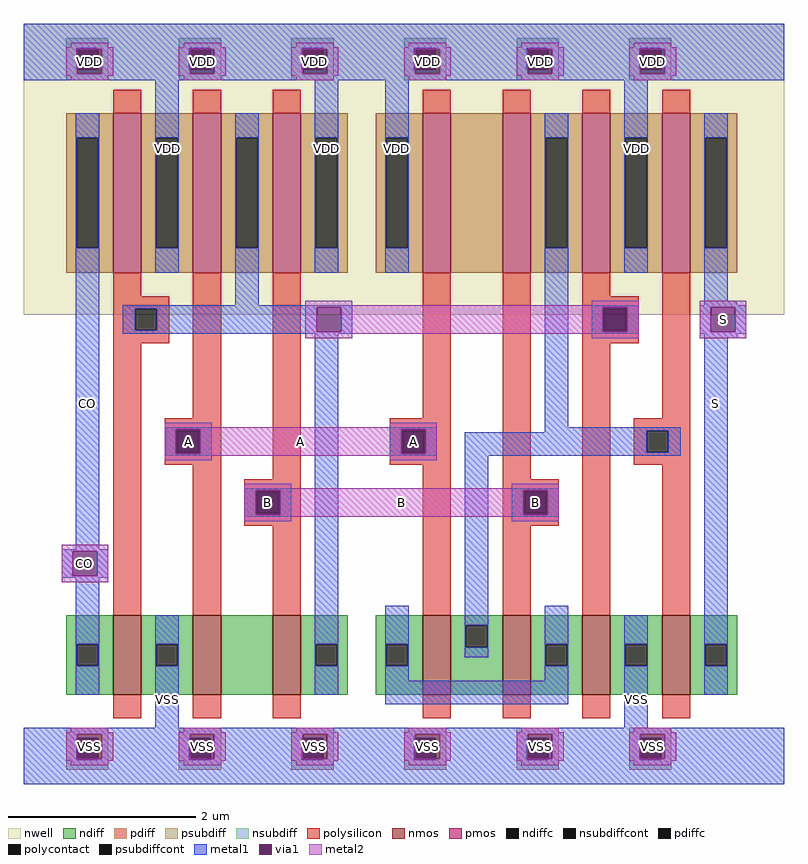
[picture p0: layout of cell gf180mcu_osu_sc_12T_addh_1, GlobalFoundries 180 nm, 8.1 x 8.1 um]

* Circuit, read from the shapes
.subckt gf180mcu_osu_sc_12T_addh_1 A B S CO VDD VSS
XM1 VSS n1 CO VSS nfet_03v3 w=0.85u l=0.3u
XM2 n2 A VSS VSS nfet_03v3 w=0.85u l=0.3u
XM3 n1 B n2 VSS nfet_03v3 w=0.85u l=0.3u
XM4 n3 A n4 VSS nfet_03v3 w=0.85u l=0.3u
XM5 n4 B n3 VSS nfet_03v3 w=0.85u l=0.3u
XM6 VSS n1 n4 VSS nfet_03v3 w=0.85u l=0.3u
XM7 S n3 VSS VSS nfet_03v3 w=0.85u l=0.3u
XM8 VDD n1 CO VDD pfet_03v3 w=1.7u l=0.3u
XM9 n1 A VDD VDD pfet_03v3 w=1.7u l=0.3u
XM10 VDD B n1 VDD pfet_03v3 w=1.7u l=0.3u
XM11 n5 A VDD VDD pfet_03v3 w=1.7u l=0.3u
XM12 n3 B n5 VDD pfet_03v3 w=1.7u l=0.3u
XM13 VDD n1 n3 VDD pfet_03v3 w=1.7u l=0.3u
XM14 S n3 VDD VDD pfet_03v3 w=1.7u l=0.3u
.ends

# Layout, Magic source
magic
tech gf180mcuA
magscale 1 10
<< nwell >>
rect 0 1000 1620 1620
<< nmos >>
rect 190 190 250 360
rect 360 190 420 360
rect 530 190 590 360
rect 850 190 910 360
rect 1020 190 1080 360
rect 1190 190 1250 360
rect 1360 190 1420 360
<< pmos >>
rect 190 1090 250 1430
rect 360 1090 420 1430
rect 530 1090 590 1430
rect 850 1090 910 1430
rect 1020 1090 1080 1430
rect 1190 1090 1250 1430
rect 1360 1090 1420 1430
<< ndiff >>
rect 90 298 190 360
rect 90 252 112 298
rect 158 252 190 298
rect 90 190 190 252
rect 250 298 360 360
rect 250 252 282 298
rect 328 252 360 298
rect 250 190 360 252
rect 420 190 530 360
rect 590 298 690 360
rect 590 252 622 298
rect 668 252 690 298
rect 590 190 690 252
rect 750 298 850 360
rect 750 252 772 298
rect 818 252 850 298
rect 750 190 850 252
rect 910 338 1020 360
rect 910 292 942 338
rect 988 292 1020 338
rect 910 190 1020 292
rect 1080 298 1190 360
rect 1080 252 1112 298
rect 1158 252 1190 298
rect 1080 190 1190 252
rect 1250 298 1360 360
rect 1250 252 1282 298
rect 1328 252 1360 298
rect 1250 190 1360 252
rect 1420 298 1520 360
rect 1420 252 1452 298
rect 1498 252 1520 298
rect 1420 190 1520 252
<< pdiff >>
rect 90 1377 190 1430
rect 90 1143 112 1377
rect 158 1143 190 1377
rect 90 1090 190 1143
rect 250 1377 360 1430
rect 250 1143 282 1377
rect 328 1143 360 1377
rect 250 1090 360 1143
rect 420 1377 530 1430
rect 420 1143 452 1377
rect 498 1143 530 1377
rect 420 1090 530 1143
rect 590 1377 690 1430
rect 590 1143 622 1377
rect 668 1143 690 1377
rect 590 1090 690 1143
rect 750 1377 850 1430
rect 750 1143 772 1377
rect 818 1143 850 1377
rect 750 1090 850 1143
rect 910 1090 1020 1430
rect 1080 1377 1190 1430
rect 1080 1143 1112 1377
rect 1158 1143 1190 1377
rect 1080 1090 1190 1143
rect 1250 1377 1360 1430
rect 1250 1143 1282 1377
rect 1328 1143 1360 1377
rect 1250 1090 1360 1143
rect 1420 1377 1520 1430
rect 1420 1143 1452 1377
rect 1498 1143 1520 1377
rect 1420 1090 1520 1143
<< ndiffc >>
rect 112 252 158 298
rect 282 252 328 298
rect 622 252 668 298
rect 772 252 818 298
rect 942 292 988 338
rect 1112 252 1158 298
rect 1282 252 1328 298
rect 1452 252 1498 298
<< pdiffc >>
rect 112 1143 158 1377
rect 282 1143 328 1377
rect 452 1143 498 1377
rect 622 1143 668 1377
rect 772 1143 818 1377
rect 1112 1143 1158 1377
rect 1282 1143 1328 1377
rect 1452 1143 1498 1377
<< psubdiff >>
rect 90 98 180 120
rect 90 52 112 98
rect 158 52 180 98
rect 90 30 180 52
rect 330 98 420 120
rect 330 52 352 98
rect 398 52 420 98
rect 330 30 420 52
rect 570 98 660 120
rect 570 52 592 98
rect 638 52 660 98
rect 570 30 660 52
rect 810 98 900 120
rect 810 52 832 98
rect 878 52 900 98
rect 810 30 900 52
rect 1050 98 1140 120
rect 1050 52 1072 98
rect 1118 52 1140 98
rect 1050 30 1140 52
rect 1290 98 1380 120
rect 1290 52 1312 98
rect 1358 52 1380 98
rect 1290 30 1380 52
<< nsubdiff >>
rect 90 1568 180 1590
rect 90 1522 112 1568
rect 158 1522 180 1568
rect 90 1500 180 1522
rect 330 1568 420 1590
rect 330 1522 352 1568
rect 398 1522 420 1568
rect 330 1500 420 1522
rect 570 1568 660 1590
rect 570 1522 592 1568
rect 638 1522 660 1568
rect 570 1500 660 1522
rect 810 1568 900 1590
rect 810 1522 832 1568
rect 878 1522 900 1568
rect 810 1500 900 1522
rect 1050 1568 1140 1590
rect 1050 1522 1072 1568
rect 1118 1522 1140 1568
rect 1050 1500 1140 1522
rect 1290 1568 1380 1590
rect 1290 1522 1312 1568
rect 1358 1522 1380 1568
rect 1290 1500 1380 1522
<< psubdiffcont >>
rect 112 52 158 98
rect 352 52 398 98
rect 592 52 638 98
rect 832 52 878 98
rect 1072 52 1118 98
rect 1312 52 1358 98
<< nsubdiffcont >>
rect 112 1522 158 1568
rect 352 1522 398 1568
rect 592 1522 638 1568
rect 832 1522 878 1568
rect 1072 1522 1118 1568
rect 1312 1522 1358 1568
<< polysilicon >>
rect 190 1430 250 1480
rect 360 1430 420 1480
rect 530 1430 590 1480
rect 850 1430 910 1480
rect 1020 1430 1080 1480
rect 1190 1430 1250 1480
rect 1360 1430 1420 1480
rect 190 1040 250 1090
rect 190 1013 310 1040
rect 190 967 237 1013
rect 283 967 310 1013
rect 190 940 310 967
rect 190 360 250 940
rect 360 780 420 1090
rect 300 753 420 780
rect 300 707 327 753
rect 373 707 420 753
rect 300 680 420 707
rect 360 360 420 680
rect 530 650 590 1090
rect 850 780 910 1090
rect 780 753 910 780
rect 780 707 807 753
rect 853 707 910 753
rect 780 680 910 707
rect 470 623 590 650
rect 470 577 497 623
rect 543 577 590 623
rect 470 550 590 577
rect 530 360 590 550
rect 850 360 910 680
rect 1020 650 1080 1090
rect 1190 1040 1250 1090
rect 1190 1013 1310 1040
rect 1190 967 1237 1013
rect 1283 967 1310 1013
rect 1190 940 1310 967
rect 1020 623 1140 650
rect 1020 577 1067 623
rect 1113 577 1140 623
rect 1020 550 1140 577
rect 1020 360 1080 550
rect 1190 360 1250 940
rect 1360 780 1420 1090
rect 1300 753 1420 780
rect 1300 707 1327 753
rect 1373 707 1420 753
rect 1300 680 1420 707
rect 1360 360 1420 680
rect 190 140 250 190
rect 360 140 420 190
rect 530 140 590 190
rect 850 140 910 190
rect 1020 140 1080 190
rect 1190 140 1250 190
rect 1360 140 1420 190
<< polycontact >>
rect 237 967 283 1013
rect 327 707 373 753
rect 807 707 853 753
rect 497 577 543 623
rect 1237 967 1283 1013
rect 1067 577 1113 623
rect 1327 707 1373 753
<< metal1 >>
rect 0 1568 1620 1620
rect 0 1522 112 1568
rect 158 1566 352 1568
rect 398 1566 592 1568
rect 638 1566 832 1568
rect 878 1566 1072 1568
rect 1118 1566 1312 1568
rect 1358 1566 1620 1568
rect 166 1522 352 1566
rect 406 1522 592 1566
rect 646 1522 832 1566
rect 886 1522 1072 1566
rect 1126 1522 1312 1566
rect 0 1514 114 1522
rect 166 1514 354 1522
rect 406 1514 594 1522
rect 646 1514 834 1522
rect 886 1514 1074 1522
rect 1126 1514 1314 1522
rect 1366 1514 1620 1566
rect 0 1500 1620 1514
rect 110 1377 160 1430
rect 110 1143 112 1377
rect 158 1143 160 1377
rect 110 500 160 1143
rect 280 1377 330 1500
rect 280 1143 282 1377
rect 328 1143 330 1377
rect 280 1090 330 1143
rect 450 1377 500 1430
rect 450 1143 452 1377
rect 498 1143 500 1377
rect 450 1020 500 1143
rect 620 1377 670 1500
rect 620 1143 622 1377
rect 668 1143 670 1377
rect 620 1090 670 1143
rect 770 1377 820 1500
rect 770 1143 772 1377
rect 818 1143 820 1377
rect 770 1090 820 1143
rect 1110 1377 1160 1430
rect 1110 1143 1112 1377
rect 1158 1143 1160 1377
rect 210 1016 700 1020
rect 210 1013 624 1016
rect 210 967 237 1013
rect 283 967 624 1013
rect 210 964 624 967
rect 676 964 700 1016
rect 210 960 700 964
rect 300 756 400 760
rect 300 704 324 756
rect 376 704 400 756
rect 300 700 400 704
rect 470 626 570 630
rect 470 574 494 626
rect 546 574 570 626
rect 470 570 570 574
rect 80 496 180 500
rect 80 444 104 496
rect 156 444 180 496
rect 80 440 180 444
rect 110 298 160 440
rect 110 252 112 298
rect 158 252 160 298
rect 110 190 160 252
rect 280 298 330 360
rect 280 252 282 298
rect 328 252 330 298
rect 280 120 330 252
rect 620 298 670 960
rect 1110 760 1160 1143
rect 1280 1377 1330 1500
rect 1280 1143 1282 1377
rect 1328 1143 1330 1377
rect 1280 1090 1330 1143
rect 1450 1377 1500 1430
rect 1450 1143 1452 1377
rect 1498 1143 1500 1377
rect 1450 1030 1500 1143
rect 1450 1020 1520 1030
rect 1210 1016 1310 1020
rect 1210 964 1234 1016
rect 1286 964 1310 1016
rect 1210 960 1310 964
rect 1440 1016 1540 1020
rect 1440 964 1464 1016
rect 1516 964 1540 1016
rect 1440 960 1540 964
rect 1450 950 1520 960
rect 780 756 880 760
rect 780 704 804 756
rect 856 704 880 756
rect 1110 753 1400 760
rect 1110 750 1327 753
rect 780 700 880 704
rect 940 707 1327 750
rect 1373 707 1400 753
rect 940 700 1400 707
rect 620 252 622 298
rect 668 252 670 298
rect 620 190 670 252
rect 770 298 820 380
rect 770 252 772 298
rect 818 252 820 298
rect 940 338 990 700
rect 1040 626 1140 630
rect 1040 574 1064 626
rect 1116 574 1140 626
rect 1040 570 1140 574
rect 940 292 942 338
rect 988 292 990 338
rect 940 270 990 292
rect 1110 298 1160 380
rect 770 220 820 252
rect 1110 252 1112 298
rect 1158 252 1160 298
rect 1110 220 1160 252
rect 770 170 1160 220
rect 1280 298 1330 360
rect 1280 252 1282 298
rect 1328 252 1330 298
rect 1280 120 1330 252
rect 1450 298 1500 950
rect 1450 252 1452 298
rect 1498 252 1500 298
rect 1450 190 1500 252
rect 0 106 1620 120
rect 0 98 114 106
rect 166 98 354 106
rect 406 98 594 106
rect 646 98 834 106
rect 886 98 1074 106
rect 1126 98 1314 106
rect 0 52 112 98
rect 166 54 352 98
rect 406 54 592 98
rect 646 54 832 98
rect 886 54 1072 98
rect 1126 54 1312 98
rect 1366 54 1620 106
rect 158 52 352 54
rect 398 52 592 54
rect 638 52 832 54
rect 878 52 1072 54
rect 1118 52 1312 54
rect 1358 52 1620 54
rect 0 0 1620 52
<< via1 >>
rect 114 1522 158 1566
rect 158 1522 166 1566
rect 354 1522 398 1566
rect 398 1522 406 1566
rect 594 1522 638 1566
rect 638 1522 646 1566
rect 834 1522 878 1566
rect 878 1522 886 1566
rect 1074 1522 1118 1566
rect 1118 1522 1126 1566
rect 1314 1522 1358 1566
rect 1358 1522 1366 1566
rect 114 1514 166 1522
rect 354 1514 406 1522
rect 594 1514 646 1522
rect 834 1514 886 1522
rect 1074 1514 1126 1522
rect 1314 1514 1366 1522
rect 624 964 676 1016
rect 324 753 376 756
rect 324 707 327 753
rect 327 707 373 753
rect 373 707 376 753
rect 324 704 376 707
rect 494 623 546 626
rect 494 577 497 623
rect 497 577 543 623
rect 543 577 546 623
rect 494 574 546 577
rect 104 444 156 496
rect 1234 1013 1286 1016
rect 1234 967 1237 1013
rect 1237 967 1283 1013
rect 1283 967 1286 1013
rect 1234 964 1286 967
rect 1464 964 1516 1016
rect 804 753 856 756
rect 804 707 807 753
rect 807 707 853 753
rect 853 707 856 753
rect 804 704 856 707
rect 1064 623 1116 626
rect 1064 577 1067 623
rect 1067 577 1113 623
rect 1113 577 1116 623
rect 1064 574 1116 577
rect 114 98 166 106
rect 354 98 406 106
rect 594 98 646 106
rect 834 98 886 106
rect 1074 98 1126 106
rect 1314 98 1366 106
rect 114 54 158 98
rect 158 54 166 98
rect 354 54 398 98
rect 398 54 406 98
rect 594 54 638 98
rect 638 54 646 98
rect 834 54 878 98
rect 878 54 886 98
rect 1074 54 1118 98
rect 1118 54 1126 98
rect 1314 54 1358 98
rect 1358 54 1366 98
<< metal2 >>
rect 100 1570 180 1580
rect 340 1570 420 1580
rect 580 1570 660 1580
rect 820 1570 900 1580
rect 1060 1570 1140 1580
rect 1300 1570 1380 1580
rect 90 1566 190 1570
rect 90 1514 114 1566
rect 166 1514 190 1566
rect 90 1510 190 1514
rect 330 1566 430 1570
rect 330 1514 354 1566
rect 406 1514 430 1566
rect 330 1510 430 1514
rect 570 1566 670 1570
rect 570 1514 594 1566
rect 646 1514 670 1566
rect 570 1510 670 1514
rect 810 1566 910 1570
rect 810 1514 834 1566
rect 886 1514 910 1566
rect 810 1510 910 1514
rect 1050 1566 1150 1570
rect 1050 1514 1074 1566
rect 1126 1514 1150 1566
rect 1050 1510 1150 1514
rect 1290 1566 1390 1570
rect 1290 1514 1314 1566
rect 1366 1514 1390 1566
rect 1290 1510 1390 1514
rect 100 1500 180 1510
rect 340 1500 420 1510
rect 580 1500 660 1510
rect 820 1500 900 1510
rect 1060 1500 1140 1510
rect 1300 1500 1380 1510
rect 600 1020 700 1030
rect 1210 1020 1310 1030
rect 600 1016 1310 1020
rect 600 964 624 1016
rect 676 964 1234 1016
rect 1286 964 1310 1016
rect 600 960 1310 964
rect 600 950 700 960
rect 1210 950 1310 960
rect 1440 1016 1540 1030
rect 1440 964 1464 1016
rect 1516 964 1540 1016
rect 1440 950 1540 964
rect 300 760 400 770
rect 780 760 880 770
rect 300 756 880 760
rect 300 704 324 756
rect 376 704 804 756
rect 856 704 880 756
rect 300 700 880 704
rect 300 690 400 700
rect 780 690 880 700
rect 470 630 570 640
rect 1040 630 1140 640
rect 470 626 1140 630
rect 470 574 494 626
rect 546 574 1064 626
rect 1116 574 1140 626
rect 470 570 1140 574
rect 470 560 570 570
rect 1040 560 1140 570
rect 80 496 180 510
rect 80 444 104 496
rect 156 444 180 496
rect 80 430 180 444
rect 100 110 180 120
rect 340 110 420 120
rect 580 110 660 120
rect 820 110 900 120
rect 1060 110 1140 120
rect 1300 110 1380 120
rect 90 106 190 110
rect 90 54 114 106
rect 166 54 190 106
rect 90 50 190 54
rect 330 106 430 110
rect 330 54 354 106
rect 406 54 430 106
rect 330 50 430 54
rect 570 106 670 110
rect 570 54 594 106
rect 646 54 670 106
rect 570 50 670 54
rect 810 106 910 110
rect 810 54 834 106
rect 886 54 910 106
rect 810 50 910 54
rect 1050 106 1150 110
rect 1050 54 1074 106
rect 1126 54 1150 106
rect 1050 50 1150 54
rect 1290 106 1390 110
rect 1290 54 1314 106
rect 1366 54 1390 106
rect 1290 50 1390 54
rect 100 40 180 50
rect 340 40 420 50
rect 580 40 660 50
rect 820 40 900 50
rect 1060 40 1140 50
rect 1300 40 1380 50
<< labels >>
rlabel metal2 s 100 40 180 120 4 VSS
port 11 nsew ground bidirectional
rlabel metal2 s 100 1500 180 1580 4 VDD
port 10 nsew power bidirectional abutment
rlabel metal2 s 300 690 400 770 4 A
port 1 nsew signal input
rlabel metal2 s 470 560 570 640 4 B
port 2 nsew signal input
rlabel metal2 s 1440 950 1540 1030 4 S
port 3 nsew signal output
rlabel metal2 s 80 430 180 510 4 CO
port 4 nsew signal output
rlabel metal2 s 300 700 880 760 1 A
port 1 nsew signal input
rlabel metal2 s 780 690 880 770 1 A
port 1 nsew signal input
rlabel metal1 s 300 700 400 760 1 A
port 1 nsew signal input
rlabel metal1 s 780 700 880 760 1 A
port 1 nsew signal input
rlabel metal2 s 470 570 1140 630 1 B
port 2 nsew signal input
rlabel metal2 s 1040 560 1140 640 1 B
port 2 nsew signal input
rlabel metal1 s 470 570 570 630 1 B
port 2 nsew signal input
rlabel metal1 s 1040 570 1140 630 1 B
port 2 nsew signal input
rlabel metal1 s 110 190 160 1430 1 CO
port 4 nsew signal output
rlabel metal1 s 80 440 180 500 1 CO
port 4 nsew signal output
rlabel metal1 s 1450 190 1500 1430 1 S
port 3 nsew signal output
rlabel metal1 s 1450 950 1520 1030 1 S
port 3 nsew signal output
rlabel metal1 s 1440 960 1540 1020 1 S
port 3 nsew signal output
rlabel metal2 s 90 1510 190 1570 1 VDD
port 10 nsew power bidirectional abutment
rlabel metal2 s 340 1500 420 1580 1 VDD
port 10 nsew power bidirectional abutment
rlabel metal2 s 330 1510 430 1570 1 VDD
port 10 nsew power bidirectional abutment
rlabel metal2 s 580 1500 660 1580 1 VDD
port 10 nsew power bidirectional abutment
rlabel metal2 s 570 1510 670 1570 1 VDD
port 10 nsew power bidirectional abutment
rlabel metal2 s 820 1500 900 1580 1 VDD
port 10 nsew power bidirectional abutment
rlabel metal2 s 810 1510 910 1570 1 VDD
port 10 nsew power bidirectional abutment
rlabel metal2 s 1060 1500 1140 1580 1 VDD
port 10 nsew power bidirectional abutment
rlabel metal2 s 1050 1510 1150 1570 1 VDD
port 10 nsew power bidirectional abutment
rlabel metal2 s 1300 1500 1380 1580 1 VDD
port 10 nsew power bidirectional abutment
rlabel metal2 s 1290 1510 1390 1570 1 VDD
port 10 nsew power bidirectional abutment
rlabel metal1 s 280 1090 330 1620 1 VDD
port 10 nsew power bidirectional abutment
rlabel metal1 s 620 1090 670 1620 1 VDD
port 10 nsew power bidirectional abutment
rlabel metal1 s 770 1090 820 1620 1 VDD
port 10 nsew power bidirectional abutment
rlabel metal1 s 1280 1090 1330 1620 1 VDD
port 10 nsew power bidirectional abutment
rlabel metal1 s 0 1500 1620 1620 1 VDD
port 10 nsew power bidirectional abutment
rlabel metal2 s 90 50 190 110 1 VSS
port 11 nsew ground bidirectional
rlabel metal2 s 340 40 420 120 1 VSS
port 11 nsew ground bidirectional
rlabel metal2 s 330 50 430 110 1 VSS
port 11 nsew ground bidirectional
rlabel metal2 s 580 40 660 120 1 VSS
port 11 nsew ground bidirectional
rlabel metal2 s 570 50 670 110 1 VSS
port 11 nsew ground bidirectional
rlabel metal2 s 820 40 900 120 1 VSS
port 11 nsew ground bidirectional
rlabel metal2 s 810 50 910 110 1 VSS
port 11 nsew ground bidirectional
rlabel metal2 s 1060 40 1140 120 1 VSS
port 11 nsew ground bidirectional
rlabel metal2 s 1050 50 1150 110 1 VSS
port 11 nsew ground bidirectional
rlabel metal2 s 1300 40 1380 120 1 VSS
port 11 nsew ground bidirectional
rlabel metal2 s 1290 50 1390 110 1 VSS
port 11 nsew ground bidirectional
rlabel metal1 s 280 0 330 360 1 VSS
port 11 nsew ground bidirectional
rlabel metal1 s 1280 0 1330 360 1 VSS
port 11 nsew ground bidirectional
rlabel metal1 s 0 0 1620 120 1 VSS
port 11 nsew ground bidirectional
<< properties >>
string FIXED_BBOX 0 0 1620 1620
string GDS_END 39936
string GDS_FILE $PDKPATH/libs.ref/gf180mcu_osu_sc_12T/gds/gf180mcu_osu_sc_12T.gds
string GDS_START 25556
string LEFclass CORE
string LEFsite GF018hv5v_mcu_sc7
string LEFsymmetry X Y
<< end >>
